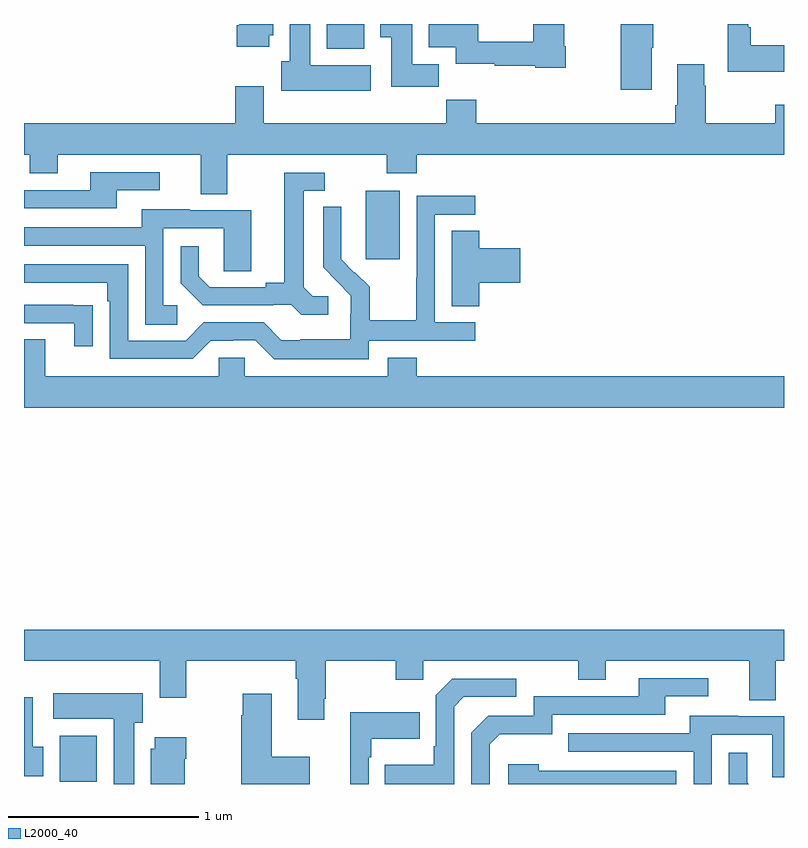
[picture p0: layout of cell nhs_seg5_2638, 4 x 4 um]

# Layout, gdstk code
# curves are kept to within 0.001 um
import gdstk
lib = gdstk.Library(unit=1e-6, precision=1e-09)
def R(c, l, rs):  # rectangles x0, y0, x1, y1
    for r in rs: c.add(gdstk.rectangle(r[:2], r[2:], *l))
def P(c, l, *ps):  # polygons
    for p in ps: c.add(gdstk.Polygon(p, *l))
L2000_40 = (2000, 40)

nhs_seg5_2638 = lib.new_cell('nhs_seg5_2638')
R(nhs_seg5_2638, L2000_40, [(265.187,834.812,265.384,835.054), (266.798,837.561,266.977,837.922), (266.594,838.67,266.791,838.799)])
P(nhs_seg5_2638, L2000_40, [(267.182,838.588),(267.043,838.588),(267.043,838.799),(266.876,838.799),(266.876,838.729),(266.933,838.729),(266.933,838.47),(267.182,838.47)],
  [(268.303,838.675),(268.311,838.675),(268.311,838.799),(268.141,838.799),(268.141,838.452),(268.303,838.452)],
  [(267.852,838.681),(267.844,838.681),(267.844,838.799),(267.679,838.799),(267.679,838.706),(267.39,838.706),(267.39,838.799),(267.131,838.799),(267.131,838.676),(267.272,838.676),(267.272,838.589),(267.478,838.589),(267.478,838.578),(267.69,838.578),(267.69,838.57),(267.852,838.57)],
  [(266.824,838.582),(266.506,838.582),(266.506,838.799),(266.399,838.799),(266.399,838.602),(266.354,838.602),(266.354,838.448),(266.824,838.448)],
  [(266.29,838.74),(266.311,838.74),(266.311,838.799),(266.132,838.799),(266.132,838.792),(266.12,838.792),(266.12,838.68),(266.29,838.68)],
  [(269,838.687),(268.825,838.687),(268.825,838.783),(268.812,838.783),(268.812,838.799),(268.704,838.799),(268.704,838.547),(269,838.547)],
  [(266.263,838.471),(266.111,838.471),(266.111,838.276),(265,838.276),(265,838.112),(265.03,838.112),(265.03,838.013),(265.177,838.013),(265.177,838.112),(265.931,838.112),(265.931,837.904),(266.071,837.904),(266.071,838.112),(266.908,838.112),(266.908,838.013),(267.068,838.013),(267.068,838.112),(269,838.112),(269,838.375),(268.954,838.375),(268.954,838.276),(268.587,838.276),(268.587,838.475),(268.579,838.475),(268.579,838.588),(268.439,838.588),(268.439,838.372),(268.427,838.372),(268.427,838.276),(267.38,838.276),(267.38,838.4),(267.223,838.4),(267.223,838.276),(266.263,838.276)],
  [(265.489,837.924),(265.714,837.924),(265.714,838.02),(265.349,838.02),(265.349,837.924),(265,837.924),(265,837.828),(265.489,837.828)],
  [(266.602,837.366),(266.52,837.366),(266.473,837.413),(266.473,837.921),(266.584,837.921),(266.584,838.017),(266.369,838.017),(266.369,837.437),(266.273,837.437),(266.273,837.414),(265.978,837.414),(265.921,837.471),(265.921,837.628),(265.824,837.628),(265.824,837.434),(265.94,837.318),(266.312,837.318),(266.312,837.321),(266.406,837.321),(266.458,837.269),(266.602,837.269)],
  [(266.814,837.132),(267.376,837.132),(267.376,837.228),(267.162,837.228),(267.162,837.795),(267.376,837.795),(267.376,837.894),(267.066,837.894),(267.066,837.464),(267.064,837.464),(267.064,837.241),(266.819,837.241),(266.819,837.415),(266.742,837.492),(266.739,837.489),(266.669,837.56),(266.67,837.836),(266.574,837.836),(266.574,837.518),(266.72,837.37),(266.72,837.273),(266.718,837.273),(266.718,837.139),(266.455,837.139),(266.455,837.135),(266.355,837.135),(266.262,837.228),(265.947,837.228),(265.851,837.132),(265.548,837.132),(265.548,837.534),(265,837.534),(265,837.438),(265.439,837.438),(265.439,837.341),(265.452,837.341),(265.452,837.036),(265.887,837.036),(265.983,837.132),(266.102,837.132),(266.102,837.135),(266.217,837.135),(266.317,837.035),(266.814,837.035)],
  [(265.807,837.318),(265.734,837.318),(265.734,837.723),(266.052,837.723),(266.052,837.499),(266.197,837.499),(266.197,837.819),(265.873,837.819),(265.873,837.823),(265.619,837.823),(265.619,837.729),(265,837.729),(265,837.633),(265.638,837.633),(265.638,837.217),(265.807,837.217)],
  [(267.395,837.437),(267.613,837.437),(267.613,837.62),(267.395,837.62),(267.395,837.71),(267.251,837.71),(267.251,837.313),(267.395,837.313)],
  [(265.361,837.32),(265.259,837.32),(265.259,837.321),(265,837.321),(265,837.225),(265.265,837.225),(265.265,837.102),(265.361,837.102)],
  [(269,836.944),(267.068,836.944),(267.068,837.043),(266.915,837.043),(266.915,836.944),(266.163,836.944),(266.163,837.042),(266.025,837.042),(266.025,836.944),(265.111,836.944),(265.111,837.139),(265,837.139),(265,836.78),(269,836.78)],
  [(266.581,835.249),(266.589,835.249),(266.589,835.448),(266.956,835.448),(266.956,835.349),(267.102,835.349),(267.102,835.448),(267.916,835.448),(267.916,835.349),(268.063,835.349),(268.063,835.448),(268.817,835.448),(268.817,835.24),(268.957,835.24),(268.957,835.448),(269,835.448),(269,835.612),(265,835.612),(265,835.448),(265.715,835.448),(265.715,835.254),(265.855,835.254),(265.855,835.448),(266.429,835.448),(266.429,835.352),(266.441,835.352),(266.441,835.137),(266.581,835.137)],
  [(267.45,835.008),(267.503,835.061),(267.78,835.061),(267.78,835.164),(268.375,835.164),(268.375,835.26),(268.6,835.26),(268.6,835.356),(268.235,835.356),(268.235,835.26),(267.684,835.26),(267.684,835.158),(267.444,835.158),(267.354,835.068),(267.354,834.799),(267.45,834.799)],
  [(267.264,835.206),(267.315,835.257),(267.592,835.257),(267.592,835.353),(267.255,835.353),(267.168,835.266),(267.168,834.997),(267.156,834.997),(267.156,834.901),(266.899,834.901),(266.899,834.799),(267.264,834.799)],
  [(265.579,835.122),(265.624,835.122),(265.624,835.276),(265.155,835.276),(265.155,835.142),(265.472,835.142),(265.472,834.799),(265.579,834.799)],
  [(266.503,834.943),(266.305,834.943),(266.305,835.273),(266.15,835.273),(266.15,835.16),(266.143,835.16),(266.143,834.799),(266.503,834.799)],
  [(265.102,834.996),(265.045,834.996),(265.045,835.255),(265,835.255),(265,834.84),(265.102,834.84)],
  [(266.814,834.941),(266.827,834.941),(266.827,835.037),(267.083,835.037),(267.083,835.177),(266.717,835.177),(266.717,834.799),(266.814,834.799)],
  [(268.62,835.059),(268.938,835.059),(268.938,834.835),(269,834.835),(269,835.155),(268.759,835.155),(268.759,835.159),(268.505,835.159),(268.505,835.065),(267.865,835.065),(267.865,834.969),(268.524,834.969),(268.524,834.799),(268.62,834.799)],
  [(265.846,834.932),(265.854,834.932),(265.854,835.045),(265.688,835.045),(265.688,834.984),(265.667,834.984),(265.667,834.799),(265.846,834.799)],
  [(268.807,834.807),(268.807,834.964),(268.71,834.964),(268.71,834.799),(268.815,834.799)],
  [(268.434,834.87),(267.71,834.87),(267.71,834.904),(267.549,834.904),(267.549,834.799),(268.434,834.799)])

lib.write_gds('nhs_seg5_2638.gds')
